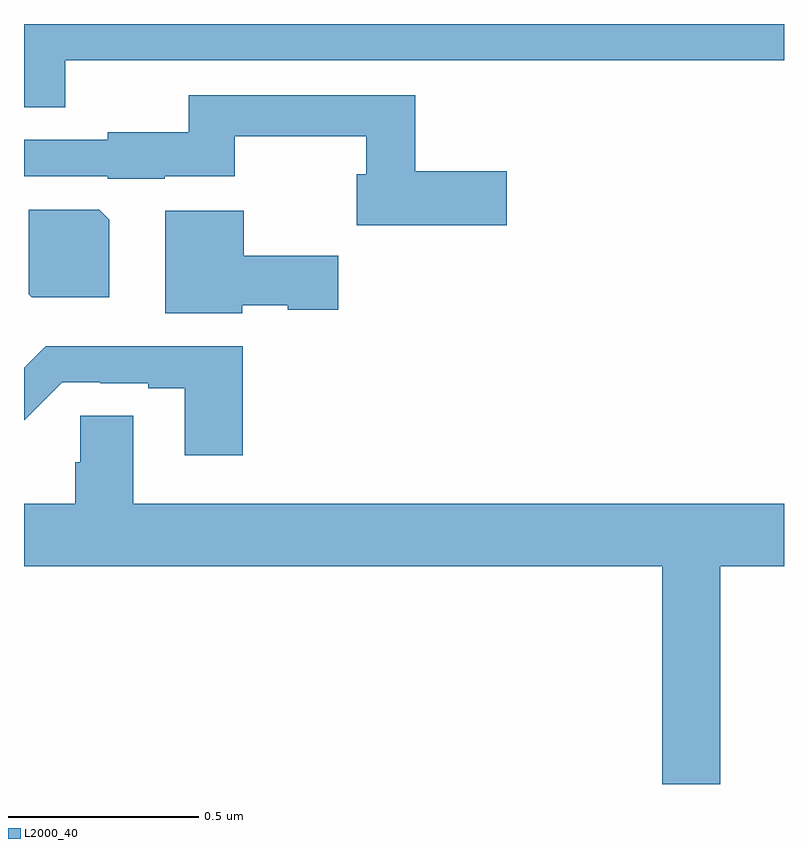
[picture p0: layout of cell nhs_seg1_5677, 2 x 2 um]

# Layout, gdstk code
import gdstk
lib = gdstk.Library(unit=1e-6, precision=1e-09)
def P(c, l, *ps):  # polygons
    for p in ps: c.add(gdstk.Polygon(p, *l))
L2000_40 = (2000, 40)

nhs_seg1_5677 = lib.new_cell('nhs_seg1_5677')
P(nhs_seg1_5677, L2000_40, [(182.109,513.104),(184,513.104),(184,513.199),(182,513.199),(182,512.98),(182.109,512.98)],
  [(183.271,512.811),(183.029,512.811),(183.029,513.012),(182.433,513.012),(182.433,512.914),(182.22,512.914),(182.22,512.895),(182,512.895),(182,512.799),(182.22,512.799),(182.22,512.792),(182.37,512.792),(182.37,512.798),(182.554,512.798),(182.554,512.904),(182.901,512.904),(182.901,512.803),(182.875,512.803),(182.875,512.669),(183.271,512.669)],
  [(182.224,512.684),(182.198,512.71),(182.012,512.71),(182.012,512.488),(182.02,512.48),(182.224,512.48)],
  [(182.574,512.459),(182.694,512.459),(182.694,512.447),(182.827,512.447),(182.827,512.589),(182.578,512.589),(182.578,512.708),(182.372,512.708),(182.372,512.438),(182.574,512.438)],
  [(182.576,512.351),(182.057,512.351),(182,512.294),(182,512.156),(182.1,512.256),(182.2,512.256),(182.2,512.253),(182.327,512.253),(182.327,512.241),(182.423,512.241),(182.423,512.064),(182.576,512.064)],
  [(183.832,511.772),(184,511.772),(184,511.936),(182.287,511.936),(182.287,512.168),(182.148,512.168),(182.148,512.046),(182.135,512.046),(182.135,511.936),(182,511.936),(182,511.772),(183.68,511.772),(183.68,511.199),(183.832,511.199)])

lib.write_gds('nhs_seg1_5677.gds')
